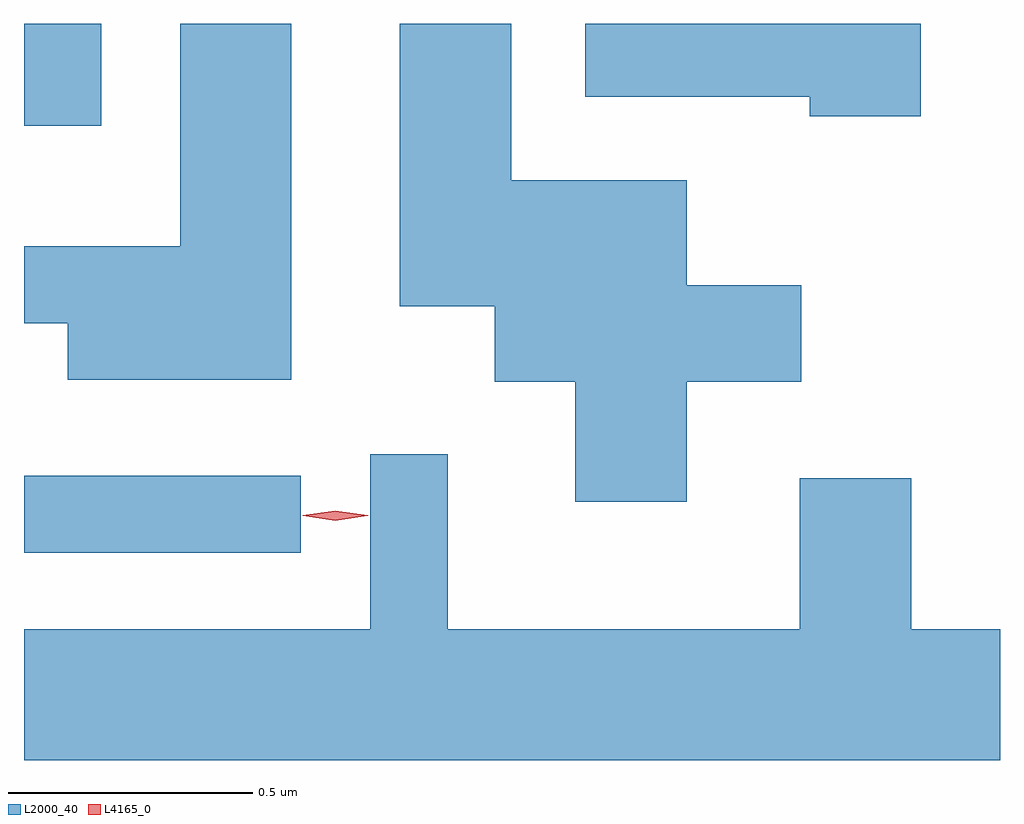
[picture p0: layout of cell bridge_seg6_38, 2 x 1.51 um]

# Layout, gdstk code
import gdstk
lib = gdstk.Library(unit=1e-6, precision=1e-09)
def R(c, l, rs):  # rectangles x0, y0, x1, y1
    for r in rs: c.add(gdstk.rectangle(r[:2], r[2:], *l))
def P(c, l, *ps):  # polygons
    for p in ps: c.add(gdstk.Polygon(p, *l))
L2000_40 = (2000, 40)
L4165_0 = (4165, 0)

bridge_seg6_38 = lib.new_cell('bridge_seg6_38')
R(bridge_seg6_38, L2000_40, [(1777.551,1608.181,1778.118,1608.339), (1777.551,1609.056,1777.709,1609.265)])
P(bridge_seg6_38, L2000_40, [(1779.389,1609.265),(1778.701,1609.265),(1778.701,1609.116),(1779.161,1609.116),(1779.161,1609.076),(1779.389,1609.076)],
  [(1778.099,1609.265),(1777.871,1609.265),(1777.871,1608.809),(1777.551,1608.809),(1777.551,1608.651),(1777.641,1608.651),(1777.641,1608.536),(1778.099,1608.536)],
  [(1778.909,1608.531),(1779.144,1608.531),(1779.144,1608.729),(1778.909,1608.729),(1778.909,1608.944),(1778.549,1608.944),(1778.549,1609.265),(1778.321,1609.265),(1778.321,1608.686),(1778.516,1608.686),(1778.516,1608.531),(1778.681,1608.531),(1778.681,1608.286),(1778.909,1608.286)],
  [(1779.551,1608.024),(1779.369,1608.024),(1779.369,1608.334),(1779.141,1608.334),(1779.141,1608.024),(1778.419,1608.024),(1778.419,1608.383),(1778.261,1608.383),(1778.261,1608.024),(1777.551,1608.024),(1777.551,1607.756),(1779.551,1607.756)])
P(bridge_seg6_38, L4165_0, [(1778.189,1608.247),(1778.122,1608.257),(1778.122,1608.257),(1778.122,1608.258),(1778.189,1608.267),(1778.255,1608.258),(1778.256,1608.257),(1778.255,1608.257)])

lib.write_gds('bridge_seg6_38.gds')
